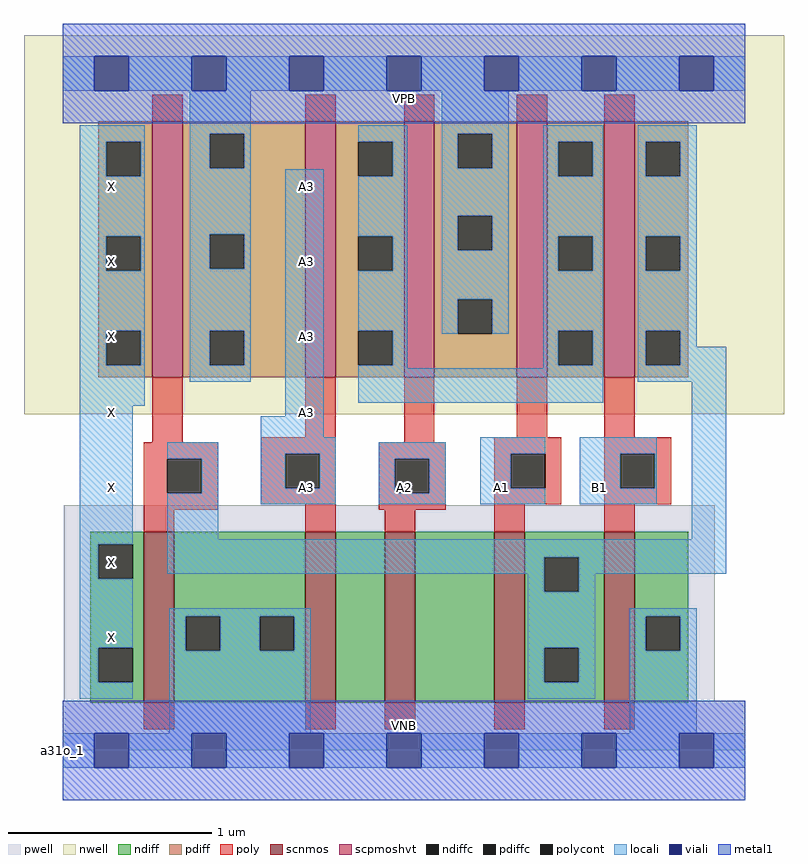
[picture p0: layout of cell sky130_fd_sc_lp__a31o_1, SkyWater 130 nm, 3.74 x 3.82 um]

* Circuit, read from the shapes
.subckt sky130_fd_sc_lp__a31o_1 A1 A2 A3 B1 VGND VNB VPB VPWR X
XM1 VGND n1 X VNB sky130_fd_pr__nfet_01v8 w=0.84 l=0.15
XM2 n2 A3 VGND VNB sky130_fd_pr__nfet_01v8 w=0.84 l=0.15
XM3 n3 A2 n2 VNB sky130_fd_pr__nfet_01v8 w=0.84 l=0.15
XM4 n1 A1 n3 VNB sky130_fd_pr__nfet_01v8 w=0.84 l=0.15
XM5 VGND B1 n1 VNB sky130_fd_pr__nfet_01v8 w=0.84 l=0.15
XM6 VPWR n1 X VPB sky130_fd_pr__pfet_01v8_hvt w=1.26 l=0.15
XM7 n4 A3 VPWR VPB sky130_fd_pr__pfet_01v8_hvt w=1.26 l=0.15
XM8 VPWR A2 n4 VPB sky130_fd_pr__pfet_01v8_hvt w=1.26 l=0.15
XM9 n4 A1 VPWR VPB sky130_fd_pr__pfet_01v8_hvt w=1.26 l=0.15
XM10 n1 B1 n4 VPB sky130_fd_pr__pfet_01v8_hvt w=1.26 l=0.15
.ends

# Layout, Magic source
magic
tech sky130A
magscale 1 2
<< nwell >>
rect -38 331 710 704
<< pwell >>
rect 1 49 642 241
rect 0 0 672 49
<< scnmos >>
rect 80 47 110 215
rect 239 47 269 215
rect 317 47 347 215
rect 425 47 455 215
rect 533 47 563 215
<< scpmoshvt >>
rect 88 367 118 619
rect 239 367 269 619
rect 336 367 366 619
rect 447 367 477 619
rect 533 367 563 619
<< ndiff >>
rect 27 203 80 215
rect 27 169 35 203
rect 69 169 80 203
rect 27 101 80 169
rect 27 67 35 101
rect 69 67 80 101
rect 27 47 80 67
rect 110 132 239 215
rect 110 98 121 132
rect 155 98 194 132
rect 228 98 239 132
rect 110 47 239 98
rect 269 47 317 215
rect 347 47 425 215
rect 455 190 533 215
rect 455 156 474 190
rect 508 156 533 190
rect 455 101 533 156
rect 455 67 474 101
rect 508 67 533 101
rect 455 47 533 67
rect 563 132 616 215
rect 563 98 574 132
rect 608 98 616 132
rect 563 47 616 98
<< pdiff >>
rect 35 599 88 619
rect 35 565 43 599
rect 77 565 88 599
rect 35 506 88 565
rect 35 472 43 506
rect 77 472 88 506
rect 35 413 88 472
rect 35 379 43 413
rect 77 379 88 413
rect 35 367 88 379
rect 118 607 239 619
rect 118 573 145 607
rect 179 573 239 607
rect 118 508 239 573
rect 118 474 145 508
rect 179 474 239 508
rect 118 413 239 474
rect 118 379 145 413
rect 179 379 239 413
rect 118 367 239 379
rect 269 599 336 619
rect 269 565 291 599
rect 325 565 336 599
rect 269 506 336 565
rect 269 472 291 506
rect 325 472 336 506
rect 269 413 336 472
rect 269 379 291 413
rect 325 379 336 413
rect 269 367 336 379
rect 366 607 447 619
rect 366 573 389 607
rect 423 573 447 607
rect 366 526 447 573
rect 366 492 389 526
rect 423 492 447 526
rect 366 444 447 492
rect 366 410 389 444
rect 423 410 447 444
rect 366 367 447 410
rect 477 599 533 619
rect 477 565 488 599
rect 522 565 533 599
rect 477 506 533 565
rect 477 472 488 506
rect 522 472 533 506
rect 477 413 533 472
rect 477 379 488 413
rect 522 379 533 413
rect 477 367 533 379
rect 563 599 616 619
rect 563 565 574 599
rect 608 565 616 599
rect 563 506 616 565
rect 563 472 574 506
rect 608 472 616 506
rect 563 413 616 472
rect 563 379 574 413
rect 608 379 616 413
rect 563 367 616 379
<< ndiffc >>
rect 35 169 69 203
rect 35 67 69 101
rect 121 98 155 132
rect 194 98 228 132
rect 474 156 508 190
rect 474 67 508 101
rect 574 98 608 132
<< pdiffc >>
rect 43 565 77 599
rect 43 472 77 506
rect 43 379 77 413
rect 145 573 179 607
rect 145 474 179 508
rect 145 379 179 413
rect 291 565 325 599
rect 291 472 325 506
rect 291 379 325 413
rect 389 573 423 607
rect 389 492 423 526
rect 389 410 423 444
rect 488 565 522 599
rect 488 472 522 506
rect 488 379 522 413
rect 574 565 608 599
rect 574 472 608 506
rect 574 379 608 413
<< poly >>
rect 88 619 118 645
rect 239 619 269 645
rect 336 619 366 645
rect 447 619 477 645
rect 533 619 563 645
rect 88 303 118 367
rect 239 308 269 367
rect 80 287 153 303
rect 80 253 103 287
rect 137 253 153 287
rect 80 237 153 253
rect 195 292 269 308
rect 336 303 366 367
rect 447 308 477 367
rect 533 308 563 367
rect 195 258 219 292
rect 253 258 269 292
rect 195 242 269 258
rect 80 215 110 237
rect 239 215 269 242
rect 311 287 377 303
rect 311 253 327 287
rect 361 253 377 287
rect 311 237 377 253
rect 425 292 491 308
rect 425 258 441 292
rect 475 258 491 292
rect 425 242 491 258
rect 533 292 599 308
rect 533 258 549 292
rect 583 258 599 292
rect 533 242 599 258
rect 317 215 347 237
rect 425 215 455 242
rect 533 215 563 242
rect 80 21 110 47
rect 239 21 269 47
rect 317 21 347 47
rect 425 21 455 47
rect 533 21 563 47
<< polycont >>
rect 103 253 137 287
rect 219 258 253 292
rect 327 253 361 287
rect 441 258 475 292
rect 549 258 583 292
<< locali >>
rect 0 649 31 683
rect 65 649 127 683
rect 161 649 223 683
rect 257 649 319 683
rect 353 649 415 683
rect 449 649 511 683
rect 545 649 607 683
rect 641 649 672 683
rect 17 599 81 615
rect 17 565 43 599
rect 77 565 81 599
rect 17 506 81 565
rect 17 472 43 506
rect 77 472 81 506
rect 17 413 81 472
rect 17 379 43 413
rect 77 379 81 413
rect 17 339 81 379
rect 125 607 185 649
rect 125 573 145 607
rect 179 573 185 607
rect 125 508 185 573
rect 291 599 339 615
rect 125 474 145 508
rect 179 474 185 508
rect 125 413 185 474
rect 125 379 145 413
rect 179 379 185 413
rect 125 363 185 379
rect 17 203 69 339
rect 219 329 257 572
rect 325 565 339 599
rect 291 506 339 565
rect 325 472 339 506
rect 291 413 339 472
rect 325 379 339 413
rect 373 607 439 649
rect 373 573 389 607
rect 423 573 439 607
rect 373 526 439 573
rect 373 492 389 526
rect 423 492 439 526
rect 373 444 439 492
rect 373 410 389 444
rect 423 410 439 444
rect 473 599 532 615
rect 473 565 488 599
rect 522 565 532 599
rect 473 506 532 565
rect 473 472 488 506
rect 522 472 532 506
rect 473 413 532 472
rect 291 376 339 379
rect 473 379 488 413
rect 522 379 532 413
rect 473 376 532 379
rect 291 342 532 376
rect 566 599 624 615
rect 566 565 574 599
rect 608 565 624 599
rect 566 506 624 565
rect 566 472 574 506
rect 608 472 624 506
rect 566 413 624 472
rect 566 379 574 413
rect 608 397 624 413
rect 608 379 653 397
rect 566 363 653 379
rect 195 308 257 329
rect 17 169 35 203
rect 103 287 153 303
rect 137 253 153 287
rect 103 208 153 253
rect 195 292 269 308
rect 195 258 219 292
rect 253 258 269 292
rect 195 242 269 258
rect 311 287 377 303
rect 311 253 327 287
rect 361 253 377 287
rect 311 242 377 253
rect 411 292 475 308
rect 411 258 441 292
rect 411 242 475 258
rect 509 292 585 308
rect 509 258 549 292
rect 583 258 585 292
rect 509 242 585 258
rect 619 208 653 363
rect 103 190 653 208
rect 103 174 474 190
rect 17 101 69 169
rect 458 156 474 174
rect 508 174 653 190
rect 508 156 524 174
rect 17 67 35 101
rect 17 51 69 67
rect 105 132 244 140
rect 105 98 121 132
rect 155 98 194 132
rect 228 98 244 132
rect 105 17 244 98
rect 458 101 524 156
rect 458 67 474 101
rect 508 67 524 101
rect 458 51 524 67
rect 558 132 624 140
rect 558 98 574 132
rect 608 98 624 132
rect 558 17 624 98
rect 0 -17 31 17
rect 65 -17 127 17
rect 161 -17 223 17
rect 257 -17 319 17
rect 353 -17 415 17
rect 449 -17 511 17
rect 545 -17 607 17
rect 641 -17 672 17
<< viali >>
rect 31 649 65 683
rect 127 649 161 683
rect 223 649 257 683
rect 319 649 353 683
rect 415 649 449 683
rect 511 649 545 683
rect 607 649 641 683
rect 31 -17 65 17
rect 127 -17 161 17
rect 223 -17 257 17
rect 319 -17 353 17
rect 415 -17 449 17
rect 511 -17 545 17
rect 607 -17 641 17
<< metal1 >>
rect 0 683 672 715
rect 0 649 31 683
rect 65 649 127 683
rect 161 649 223 683
rect 257 649 319 683
rect 353 649 415 683
rect 449 649 511 683
rect 545 649 607 683
rect 641 649 672 683
rect 0 617 672 649
rect 0 17 672 49
rect 0 -17 31 17
rect 65 -17 127 17
rect 161 -17 223 17
rect 257 -17 319 17
rect 353 -17 415 17
rect 449 -17 511 17
rect 545 -17 607 17
rect 641 -17 672 17
rect 0 -49 672 -17
<< labels >>
flabel pwell s 0 0 672 49 0 FreeSans 200 0 0 0 VNB
port 6 nsew ground bidirectional
flabel nwell s 0 617 672 666 0 FreeSans 200 0 0 0 VPB
port 7 nsew power bidirectional
rlabel comment s 0 0 0 0 4 a31o_1
flabel metal1 s 0 617 672 666 0 FreeSans 340 0 0 0 VPWR
port 8 nsew power bidirectional
flabel metal1 s 0 0 672 49 0 FreeSans 340 0 0 0 VGND
port 5 nsew ground bidirectional
flabel locali s 415 242 449 276 0 FreeSans 340 0 0 0 A1
port 1 nsew signal input
flabel locali s 319 242 353 276 0 FreeSans 340 0 0 0 A2
port 2 nsew signal input
flabel locali s 223 242 257 276 0 FreeSans 340 0 0 0 A3
port 3 nsew signal input
flabel locali s 223 316 257 350 0 FreeSans 340 0 0 0 A3
port 3 nsew signal input
flabel locali s 223 390 257 424 0 FreeSans 340 0 0 0 A3
port 3 nsew signal input
flabel locali s 223 464 257 498 0 FreeSans 340 0 0 0 A3
port 3 nsew signal input
flabel locali s 223 538 257 572 0 FreeSans 340 0 0 0 A3
port 3 nsew signal input
flabel locali s 511 242 545 276 0 FreeSans 340 0 0 0 B1
port 4 nsew signal input
flabel locali s 31 94 65 128 0 FreeSans 340 0 0 0 X
port 9 nsew signal output
flabel locali s 31 168 65 202 0 FreeSans 340 0 0 0 X
port 9 nsew signal output
flabel locali s 31 242 65 276 0 FreeSans 340 0 0 0 X
port 9 nsew signal output
flabel locali s 31 316 65 350 0 FreeSans 340 0 0 0 X
port 9 nsew signal output
flabel locali s 31 390 65 424 0 FreeSans 340 0 0 0 X
port 9 nsew signal output
flabel locali s 31 464 65 498 0 FreeSans 340 0 0 0 X
port 9 nsew signal output
flabel locali s 31 538 65 572 0 FreeSans 340 0 0 0 X
port 9 nsew signal output
<< properties >>
string LEFsite unit
string LEFclass CORE
string FIXED_BBOX 0 0 672 666
string GDS_FILE $PDKPATH/libs.ref/sky130_fd_sc_lp/gds/sky130_fd_sc_lp.gds
string LEFsymmetry X Y R90
string GDS_END 2772644
string GDS_START 2765174
<< end >>
